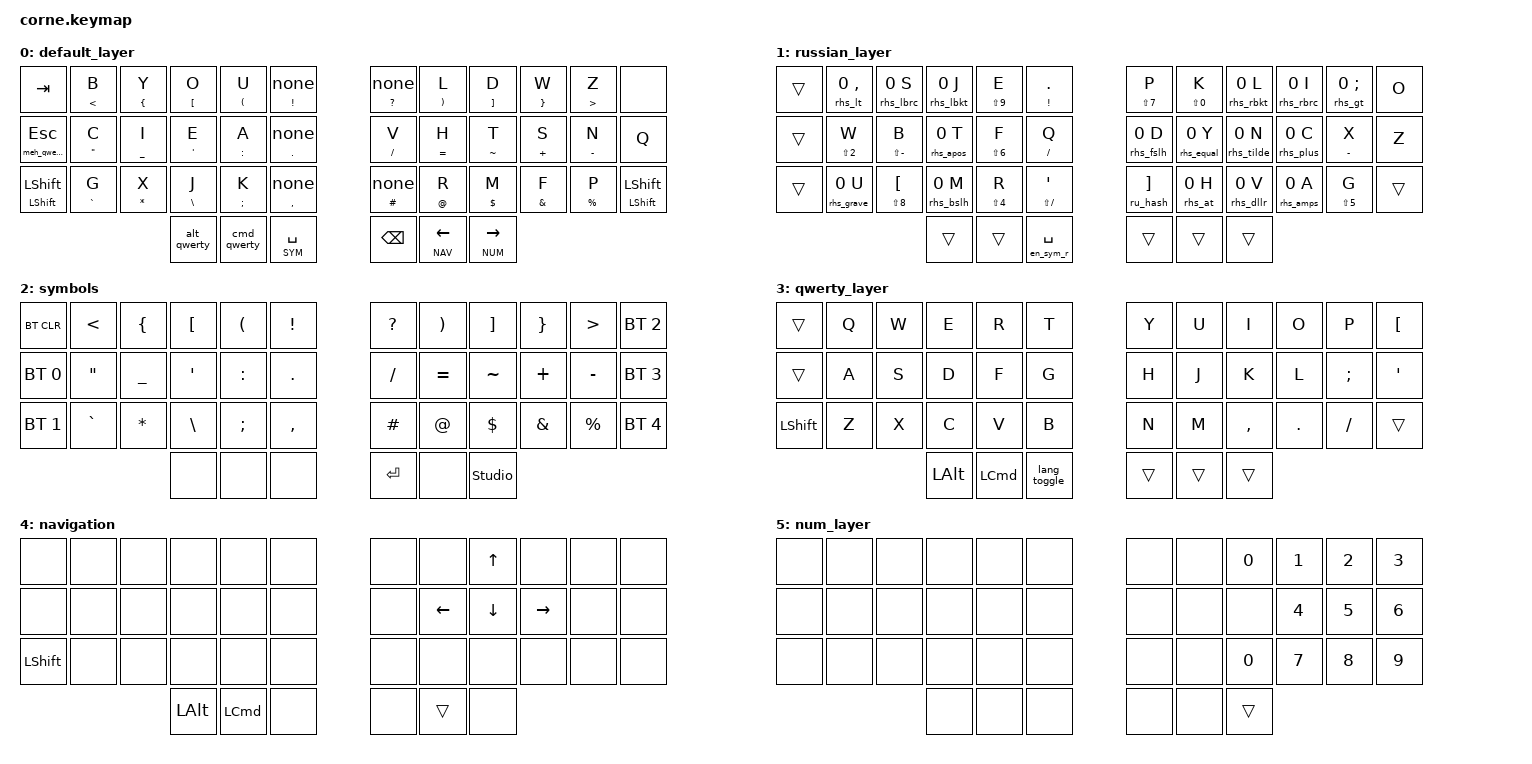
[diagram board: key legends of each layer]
/*

▀████▄     ▄███▀            ▀███▄   ▀███▀                                  ▄▄█▀▀▀█▄█                                       ▀████▀ ▀███▀
  ████    ████                ███▄    █                                  ▄██▀     ▀█                                         ██   ▄█▀
  █ ██   ▄█ ██ ▀███▄███       █ ███   █   ▄██▀██▄  ▄██▀██▄▀████████▄     ██▀       ▀ ▄██▀██▄▀███▄███▀████████▄   ▄▄█▀██      ██ ▄█▀      ▄▄█▀██▀██▀   ▀██▀████████▄█████▄  ▄█▀██▄ ▀████████▄
  █  ██  █▀ ██   ██▀ ▀▀       █  ▀██▄ █  ██▀   ▀████▀   ▀██ ██    ██     ██         ██▀   ▀██ ██▀ ▀▀  ██    ██  ▄█▀   ██     █████▄     ▄█▀   ██ ██   ▄█   ██    ██    ██ ██   ██   ██   ▀██
  █  ██▄█▀  ██   ██           █   ▀██▄█  ██     ████     ██ ██    ██     ██▄        ██     ██ ██      ██    ██  ██▀▀▀▀▀▀     ██  ███    ██▀▀▀▀▀▀  ██ ▄█    ██    ██    ██  ▄█████   ██    ██
  █  ▀██▀   ██   ██    ▄▄     █     ███  ██▄   ▄████▄   ▄██ ██    ██     ▀██▄     ▄▀██▄   ▄██ ██      ██    ██  ██▄    ▄     ██   ▀██▄  ██▄    ▄   ███     ██    ██    ██ ██   ██   ██   ▄██
▄███▄ ▀▀  ▄████▄████▄  ██   ▄███▄    ██   ▀█████▀  ▀█████▀▄████  ████▄     ▀▀█████▀  ▀█████▀▄████▄  ▄████  ████▄ ▀█████▀   ▄████▄   ███▄ ▀█████▀   ▄█    ▄████  ████  ████▄████▀██▄ ██████▀
                                                                                                                                                 ▄█                                 ██
                                                                                                                                               ██▀                                ▄████▄

////////////////////////////////////////////////////////////////////////////////////////////////////////////////////////////////////////////////////////////////////////////////////////////



████████╗ ██████╗ ██████╗  ██████╗ ███████╗
╚══██╔══╝██╔═══██╗██╔══██╗██╔═══██╗██╔════╝
   ██║   ██║   ██║██║  ██║██║   ██║███████╗
   ██║   ██║   ██║██║  ██║██║   ██║╚════██║
   ██║   ╚██████╔╝██████╔╝╚██████╔╝███████║
   ╚═╝    ╚═════╝ ╚═════╝  ╚═════╝ ╚══════╝

[ ] Transfer window management to QMK

[ ] Transfer nav layer addenda to the QMK

[x] Need a button (capslock or the like) to change window position
    and generally redesign the window positioning system.

[ ] Need a proper readme

[ ] Need a more general description of keyboard functioning on the
    mac, including things like Vimari, window management and such




██╗███╗   ██╗ ██████╗██╗     ██╗   ██╗██████╗ ███████╗███████╗
██║████╗  ██║██╔════╝██║     ██║   ██║██╔══██╗██╔════╝██╔════╝
██║██╔██╗ ██║██║     ██║     ██║   ██║██║  ██║█████╗  ███████╗
██║██║╚██╗██║██║     ██║     ██║   ██║██║  ██║██╔══╝  ╚════██║
██║██║ ╚████║╚██████╗███████╗╚██████╔╝██████╔╝███████╗███████║
╚═╝╚═╝  ╚═══╝ ╚═════╝╚══════╝ ╚═════╝ ╚═════╝ ╚══════╝╚══════╝

*/

#include <behaviors.dtsi>
#include <dt-bindings/zmk/keys.h>
#include <dt-bindings/zmk/bt.h>
#include <dt-bindings/zmk/ext_power.h>



/*
██╗      █████╗ ██╗   ██╗███████╗██████╗ ███████╗
██║     ██╔══██╗╚██╗ ██╔╝██╔════╝██╔══██╗██╔════╝
██║     ███████║ ╚████╔╝ █████╗  ██████╔╝███████╗
██║     ██╔══██║  ╚██╔╝  ██╔══╝  ██╔══██╗╚════██║
███████╗██║  ██║   ██║   ███████╗██║  ██║███████║
╚══════╝╚═╝  ╚═╝   ╚═╝   ╚══════╝╚═╝  ╚═╝╚══════╝
*/

#define EN  0
#define RU  1
#define SYM 2
#define QWE 3
#define NAV 4
#define NUM 5

/*
███████╗███████╗████████╗████████╗██╗███╗   ██╗ ██████╗ ███████╗
██╔════╝██╔════╝╚══██╔══╝╚══██╔══╝██║████╗  ██║██╔════╝ ██╔════╝
███████╗█████╗     ██║      ██║   ██║██╔██╗ ██║██║  ███╗███████╗
╚════██║██╔══╝     ██║      ██║   ██║██║╚██╗██║██║   ██║╚════██║
███████║███████╗   ██║      ██║   ██║██║ ╚████║╚██████╔╝███████║
╚══════╝╚══════╝   ╚═╝      ╚═╝   ╚═╝╚═╝  ╚═══╝ ╚═════╝ ╚══════╝
*/

//
// Configuring behavior of sticky shift
// to avoid double capitalised letters when rolling
//
&sk {
    quick-release;
};

/*
███╗   ███╗ █████╗  ██████╗██████╗  ██████╗ ███████╗
████╗ ████║██╔══██╗██╔════╝██╔══██╗██╔═══██╗██╔════╝
██╔████╔██║███████║██║     ██████╔╝██║   ██║███████╗
██║╚██╔╝██║██╔══██║██║     ██╔══██╗██║   ██║╚════██║
██║ ╚═╝ ██║██║  ██║╚██████╗██║  ██║╚██████╔╝███████║
╚═╝     ╚═╝╚═╝  ╚═╝ ╚═════╝╚═╝  ╚═╝ ╚═════╝ ╚══════╝
*/

/ {
    combos {

        //
        // Three buttons in the home position
        // on the left produce a combo that
        // presses command-shift-space, which
        // produces hint mode on macos via
        // an app called HomeRow
        //
        compatible = "zmk,combos";
        combo_6 {
            timeout-ms = <100>;
            key-positions = <14 15 16>;
            bindings = <&kp LG(LS(SPACE))>;
        };

        //
        // Three buttons in the home
        // position on the right produces
        // command-shift-J which turns on
        // scroll mode in HomeRow
        //
        compatible = "zmk,combos";
        combo_7 {
            timeout-ms = <100>;
            key-positions = <19 20 21>;
            bindings = <&kp LG(LS(J))>;
        };

        // (EN<->RU switch is NOT a combo — combos wouldn't fire on the thumb
        // keys. Instead, holding Super activates the QWERTY layer, whose Enter
        // key is bound to &lang_toggle. So "hold Super, tap Enter" switches.)

    };
};


/ {

        macros {

        //
        // Switch to the QWERTY layer with
        // Left Command / Left Option being held.
        // I'm typing in an alt layout, but
        // want my hotkeys to still be as if
        // I'm pressing them in QWERTY.
        //
        ZMK_MACRO(cmd_qwerty,
            wait-ms = <0>;
            bindings
                = <&macro_press &mo QWE &kp LCMD>
                , <&macro_pause_for_release>
                , <&macro_release &mo QWE &kp LCMD>
                ;
        )

        ZMK_MACRO(alt_qwerty,
            wait-ms = <0>;
            bindings
                = <&macro_press &mo QWE &kp LALT>
                , <&macro_pause_for_release>
                , <&macro_release &mo QWE &kp LALT>
                ;
        )

        //
        // Held by the red key: hold Ctrl+Alt+Cmd (Meh) AND switch to the
        // QWERTY layer, so Meh shortcuts use QWERTY letters no matter which
        // alpha layout / language is active.
        //
        ZMK_MACRO(meh_qwerty,
            wait-ms = <0>;
            bindings
                = <&macro_press &mo QWE &kp LC(LA(LGUI))>
                , <&macro_pause_for_release>
                , <&macro_release &mo QWE &kp LC(LA(LGUI))>
                ;
        )
        //
        // Switch to layers while
        // switching languages for
        // the duration of the layer. Lets me
        // get symbols from the Latin layer
        // while being in the Russian layout.
        //
        ZMK_MACRO(en_sym_r,
            wait-ms = <0>;
            tap-ms = <0>;
            bindings
                = <&macro_press &mo SYM>
                , <&macro_tap &kp LG(LA(N1))>
                , <&macro_pause_for_release>
                , <&macro_tap &kp LG(LA(N2))>
                , <&macro_release &mo SYM>
                ;
        )

        //
        // Convenience macros:
        // switching tabs left and right
        //
        ZMK_MACRO(tab_l,
            wait-ms = <0>;
            tap-ms = <0>;
            bindings
                = <&macro_tap &kp LG(LS(LBKT))>
                ;
        )
        ZMK_MACRO(tab_r,
            wait-ms = <0>;
            tap-ms = <0>;
            bindings
                = <&macro_tap &kp LG(LS(RBKT))>
                ;
        )

        //
        // '#' is not on the Russian (ЙЦУКЕН) layout, so on the RU layer this
        // key briefly switches the OS to English (Cmd+Alt+1), types #, and
        // switches back to Russian (Cmd+Alt+2). wait-ms gives the OS time to
        // actually change input source between steps (tune if # or the switch
        // is unreliable).
        //
        ZMK_MACRO(ru_hash,
            wait-ms = <30>;
            tap-ms = <0>;
            bindings
                = <&macro_tap &kp LG(LA(N1))>
                , <&macro_tap &kp HASH>
                , <&macro_tap &kp LG(LA(N2))>
                ;
        )

        //
        // ru_sym_* macros: flip the OS input source to English (Cmd+Alt+1),
        // tap the symbol, flip back to Russian (Cmd+Alt+2) — the ru_hash
        // trick, generalized to every symbol ЙЦУКЕН doesn't have. Each pairs
        // with an rhs_* hold-tap behavior (see behaviors section): on the RU
        // layer, holding the key types that symbol. Symbols that DO exist in
        // ЙЦУКЕН (! " ; % : ? * ( ) - _ . ,) are sent directly via &rht.
        //
#define RU_SYM_MACRO(name, SYMKEY) \
        ZMK_MACRO(ru_sym_##name, \
            wait-ms = <30>; \
            tap-ms = <0>; \
            bindings \
                = <&macro_tap &kp LG(LA(N1))> \
                , <&macro_tap &kp SYMKEY> \
                , <&macro_tap &kp LG(LA(N2))> \
                ; \
        )

        RU_SYM_MACRO(lt,    LT)
        RU_SYM_MACRO(lbrc,  LBRC)
        RU_SYM_MACRO(lbkt,  LBKT)
        RU_SYM_MACRO(rbkt,  RBKT)
        RU_SYM_MACRO(rbrc,  RBRC)
        RU_SYM_MACRO(gt,    GT)
        RU_SYM_MACRO(apos,  APOS)
        RU_SYM_MACRO(fslh,  FSLH)
        RU_SYM_MACRO(equal, EQUAL)
        RU_SYM_MACRO(tilde, TILDE)
        RU_SYM_MACRO(plus,  PLUS)
        RU_SYM_MACRO(grave, GRAVE)
        RU_SYM_MACRO(bslh,  BSLH)
        RU_SYM_MACRO(at,    AT)
        RU_SYM_MACRO(dllr,  DLLR)
        RU_SYM_MACRO(amps,  AMPS)

        //
        // EN<->RU switch, bound to Enter on the QWERTY layer (which you reach
        // by holding Super). Cmd+Space toggles the macOS input source; &tog RU
        // toggles the keyboard's Russian layer — both directions, one key.
        //
        ZMK_MACRO(lang_toggle,
            wait-ms = <0>;
            tap-ms = <0>;
            bindings
                = <&kp LG(SPACE)>
                , <&tog RU>
                ;
        )
    };






/*
██████╗ ███████╗██╗  ██╗ █████╗ ██╗   ██╗██╗ ██████╗ ██╗   ██╗██████╗ ███████╗
██╔══██╗██╔════╝██║  ██║██╔══██╗██║   ██║██║██╔═══██╗██║   ██║██╔══██╗██╔════╝
██████╔╝█████╗  ███████║███████║██║   ██║██║██║   ██║██║   ██║██████╔╝███████╗
██╔══██╗██╔══╝  ██╔══██║██╔══██║╚██╗ ██╔╝██║██║   ██║██║   ██║██╔══██╗╚════██║
██████╔╝███████╗██║  ██║██║  ██║ ╚████╔╝ ██║╚██████╔╝╚██████╔╝██║  ██║███████║
╚═════╝ ╚══════╝╚═╝  ╚═╝╚═╝  ╚═╝  ╚═══╝  ╚═╝ ╚═════╝  ╚═════╝ ╚═╝  ╚═╝╚══════╝
*/
        behaviors {
        //
        // Custom Layer-Tap: switches to layer when held,
        // presses a button when pressed. ZMK has this
        // by default (called &lt), but I duplicate it
        // because I want to play with tapping terms and such.
        //
        lt_cust: lt_cust {
            compatible = "zmk,behavior-hold-tap";
            label="LT_CUSTOM";
            #binding-cells = <2>;
            flavor = "hold-preferred";
            tapping-term-ms = <250>;
            quick-tap-ms = <125>;
            bindings = <&mo>, <&kp>;
        };

        //
        // Same as lt_cust, but calls macros when held.
        // I use this to switch between languages. I wrote
        // language-switching macros that (a) switch my active
        // layer; (b) switch the OS language.
        //
        hold_sym_r: hold_sym_r {
            compatible = "zmk,behavior-hold-tap";
            label="hold_sym_r";
            #binding-cells = <2>;
            flavor = "hold-preferred";
            tapping-term-ms = <250>;
            quick-tap-ms = <125>;
            bindings = <&en_sym_r>, <&kp>;
        };

	//
	// Shift: normal (held) Shift, and a sticky Shift when tapped.
	// Both shift keys use it as: &ss LSHFT LSHFT.
	//
        ss: ss {
            compatible = "zmk,behavior-hold-tap";
            label = "SS";
            #binding-cells = <2>;
            flavor = "hold-preferred";
            tapping-term-ms = <200>;
            quick-tap-ms = <125>;
            bindings = <&kp>, <&sk>;
        };


        //
        // Generic hold-tap (tap-preferred), used as `&rht <hold> <tap>`.
        // Backs the hold-for-symbol keys: hold = the SYM-layer symbol in the
        // same physical position, tap = the letter. On EN that's every letter
        // key; on RU only the letters whose symbol exists in ЙЦУКЕН (the rest
        // use the rhs_* behaviors below, which flip the OS to EN and back).
        //
        rht: rht {
            compatible = "zmk,behavior-hold-tap";
            label = "RHT";
            #binding-cells = <2>;
            flavor = "tap-preferred";
            tapping-term-ms = <200>;
            quick-tap-ms = <150>;
            bindings = <&kp>, <&kp>;
        };

        //
        // Hold-only symbol key: tap does NOTHING, hold types the symbol.
        // Used on the EN layer's old punctuation slots, which are now
        // tap-empty (symbols come from holding these keys, or from SYM).
        // Hold-tap always takes 2 cells: `&hso <symbol> 0` (0 is a dummy for
        // &none, which has zero binding-cells).
        //
        hso: hso {
            compatible = "zmk,behavior-hold-tap";
            label = "HSO";
            #binding-cells = <2>;
            flavor = "hold-preferred";
            tapping-term-ms = <200>;
            quick-tap-ms = <150>;
            bindings = <&kp>, <&none>;
        };

        //
        // Same shape as rht (tap = key, hold = special), but the hold side
        // runs the ru_hash macro because ЙЦУКЕН has no '#'. Used on the RU
        // layer as `&rh_hash 0 <letter>`: tap = letter, hold = #.
        //
        rh_hash: rh_hash {
            compatible = "zmk,behavior-hold-tap";
            label = "RH_HASH";
            #binding-cells = <2>;
            flavor = "tap-preferred";
            tapping-term-ms = <200>;
            quick-tap-ms = <150>;
            bindings = <&ru_hash>, <&kp>;
        };

        //
        // RU hold-for-symbol with OS flip: tap = Cyrillic letter, hold runs
        // the matching ru_sym_* macro (flip OS to EN, tap symbol, flip back)
        // for symbols ЙЦУКЕН doesn't have. RU_SYM_BEHAVIOR generates one
        // behavior per macro; used as `&rhs_<name> 0 <letter>`.
        //
#define RU_SYM_BEHAVIOR(name) \
        rhs_##name: rhs_##name { \
            compatible = "zmk,behavior-hold-tap"; \
            label = "RHS"; \
            #binding-cells = <2>; \
            flavor = "tap-preferred"; \
            tapping-term-ms = <200>; \
            quick-tap-ms = <150>; \
            bindings = <&ru_sym_##name>, <&kp>; \
        };

        RU_SYM_BEHAVIOR(lt)
        RU_SYM_BEHAVIOR(lbrc)
        RU_SYM_BEHAVIOR(lbkt)
        RU_SYM_BEHAVIOR(rbkt)
        RU_SYM_BEHAVIOR(rbrc)
        RU_SYM_BEHAVIOR(gt)
        RU_SYM_BEHAVIOR(apos)
        RU_SYM_BEHAVIOR(fslh)
        RU_SYM_BEHAVIOR(equal)
        RU_SYM_BEHAVIOR(tilde)
        RU_SYM_BEHAVIOR(plus)
        RU_SYM_BEHAVIOR(grave)
        RU_SYM_BEHAVIOR(bslh)
        RU_SYM_BEHAVIOR(at)
        RU_SYM_BEHAVIOR(dllr)
        RU_SYM_BEHAVIOR(amps)

        //
        // The red key: tap = Escape, hold = meh_qwerty (Ctrl+Alt+Cmd + QWERTY
        // layer, so Meh shortcuts use QWERTY letters). Used as `&red 0 ESC`.
        // hold-preferred so the hold engages as soon as another key is pressed.
        //
        red: red {
            compatible = "zmk,behavior-hold-tap";
            label = "RED";
            #binding-cells = <2>;
            flavor = "hold-preferred";
            tapping-term-ms = <200>;
            quick-tap-ms = <125>;
            bindings = <&meh_qwerty>, <&kp>;
        };

    };



/*
██╗      █████╗ ██╗   ██╗███████╗██████╗ ███████╗
██║     ██╔══██╗╚██╗ ██╔╝██╔════╝██╔══██╗██╔════╝
██║     ███████║ ╚████╔╝ █████╗  ██████╔╝███████╗
██║     ██╔══██║  ╚██╔╝  ██╔══╝  ██╔══██╗╚════██║
███████╗██║  ██║   ██║   ███████╗██║  ██║███████║
╚══════╝╚═╝  ╚═╝   ╚═╝   ╚══════╝╚═╝  ╚═╝╚══════╝
*/

        keymap {
                compatible = "zmk,keymap";
                default_layer {
/*
Top glyph on a key = HOLD for that symbol (the one in the same position on
the SYM layer); a plain tap types the letter. The old punctuation keys
(! ? . , #) are tap-empty and fire only on hold. Symbols can also be typed
by holding Space (SYM) and tapping the key, as before.

┌───────┬───────┬───────┬───────┬───────┬───────┐                        ┌───────┬───────┬───────┬───────┬───────┬───────┐
│       │   <   │   {   │   [   │   (   │   !   │░                       │   ?   │   )   │   ]   │   }   │   >   │       │░
│  tab  │   B   │   Y   │   O   │   U   │  ---  │░                       │  ---  │   L   │   D   │   W   │   Z   │       │░
│       │       │       │       │       │       │░                       │       │       │       │       │       │       │░
├───────┼───────┼───────┼───────┼───────┼───────┤░                       ├───────┼───────┼───────┼───────┼───────┼───────┤░
│  meh  │   "   │   _   │   '   │   :   │   .   │░                       │   /   │   =   │   ~   │   +   │   -   │       │░
│  ---  │   C   │   I   │   E   │   A   │  ---  │░                       │   V   │   H   │   T   │   S   │   N   │   Q   │░
│  esc  │       │       │       │       │       │░                       │       │       │       │       │       │       │░
├───────┼───────┼───────┼───────┼───────┼───────┤░                       ├───────┼───────┼───────┼───────┼───────┼───────┤░
│       │   `   │   *   │   \   │   ;   │   ,   │░                       │   #   │   @   │   $   │   &   │   %   │       │░
│ shift │   G   │   X   │   J   │   K   │  ---  │░                       │  ---  │   R   │   M   │   F   │   P   │ shift │░
│       │       │       │       │       │       │░                       │       │       │       │       │       │       │░
└───────┴───────┴───────┴───────┴───────┴───────┘░                       └───────┴───────┴───────┴───────┴───────┴───────┘░
 ░░░░░░░░░░░░░░░░░░░░░░░░░░░░░░░░░░░░░░░░░░░░░░░░┌───────┐      ┌───────┐ ░░░░░░░░░░░░░░░░░░░░░░░░░░░░░░░░░░░░░░░░░░░░░░░░░
                                ┌───────┬───────┐│       │░     │       │░┌───────┬───────┐
                                │       │       ││  SYM  │░     │       │░│       │       │░
                                │   ⌥   │   ⌘   ││  ---  │░     │ bkspc │░│ ←NAV  │  NUM→ │░
                                │       │       ││ space │░     │       │░│       │       │░
                                └───────┴───────┘│       │░     │       │░└───────┴───────┘░
                                 ░░░░░░░░░░░░░░░░│       │░     │       │░ ░░░░░░░░░░░░░░░░░
                                                 └───────┘░     └───────┘░
                                                  ░░░░░░░░░      ░░░░░░░░░
*/


                        bindings = <

   &kp TAB              &rht LT B     &rht LBRC Y  &rht LBKT O  &rht LPAR U  &hso EXCL 0                            &hso QMARK 0  &rht RPAR L  &rht RBKT D  &rht RBRC W    &rht GT Z    &none
   &red 0 ESC           &rht DQT C    &rht UNDER I &rht APOS E  &rht COLON A &hso DOT 0                             &rht FSLH V &rht EQUAL H &rht TILDE T &rht PLUS S    &rht MINUS N &kp Q
   &ss LSHFT LSHFT      &rht GRAVE G  &rht STAR X  &rht BSLH J  &rht SEMI K  &hso COMMA 0                           &hso HASH 0   &rht AT R    &rht DLLR M  &rht AMPS F    &rht PRCNT P &ss LSHFT LSHFT

                  &alt_qwerty  &cmd_qwerty  &lt_cust SYM SPACE             &kp BSPC  &lt_cust NAV LEFT  &lt_cust NUM RIGHT
                        >;
                };






                    russian_layer {
/*
Cyrillic letters sit where the matching LATIN logical key is on the EN layer
(e.g. п is where Latin p is). Keycodes sent are the QWERTY positions the macOS
Russian (ЙЦУКЕН) layout maps to each letter. Ё is not on this layout.

Every printable symbol from the SYM layer can be typed here by HOLDING the key
in the same physical position (top glyph = hold, letter = tap), or by holding
Space (SYM) and tapping the key, as before. Symbols that exist in ЙЦУКЕН are
sent directly: ! = Shift+1, " = Shift+2, ; = Shift+4, % = Shift+5, : = Shift+6,
? = Shift+7, * = Shift+8, ( = Shift+9, ) = Shift+0, - and _ on the minus key,
. = "/" key, , = Shift+"/". The rest (< { [ ] } > ' / = ~ + ` \ @ $ & #)
briefly flip the OS to English and back via ru_sym_* / ru_hash macros
(tune their wait-ms if a language switch is ever dropped).

┌───────┬───────┬───────┬───────┬───────┬───────┐                        ┌───────┬───────┬───────┬───────┬───────┬───────┐
│       │   <   │   {   │   [   │   (   │   !   │░                       │   ?   │   )   │   ]   │   }   │   >   │       │░
│  +++  │   Б   │   Ы   │   О   │   У   │   Ю   │░                       │   З   │   Л   │   Д   │   Ш   │   Ж   │   Щ   │░
│       │       │       │       │       │       │░                       │       │       │       │       │       │       │░
├───────┼───────┼───────┼───────┼───────┼───────┤░                       ├───────┼───────┼───────┼───────┼───────┼───────┤░
│  meh  │   "   │   _   │   '   │   :   │   .   │░                       │   /   │   =   │   ~   │   +   │   -   │       │░
│  ---  │   Ц   │   И   │   Е   │   А   │   Й   │░                       │   В   │   Н   │   Т   │   С   │   Ч   │   Я   │░
│  esc  │       │       │       │       │       │░                       │       │       │       │       │       │       │░
├───────┼───────┼───────┼───────┼───────┼───────┤░                       ├───────┼───────┼───────┼───────┼───────┼───────┤░
│       │   `   │   *   │   \   │   ;   │   ,   │░                       │   #   │   @   │   $   │   &   │   %   │       │░
│  +++  │   Г   │   Х   │   Ь   │   К   │   Э   │░                       │   Ъ   │   Р   │   М   │   Ф   │   П   │  +++  │░
│       │       │       │       │       │       │░                       │       │       │       │       │       │       │░
└───────┴───────┴───────┴───────┴───────┴───────┘░                       └───────┴───────┴───────┴───────┴───────┴───────┘░
 ░░░░░░░░░░░░░░░░░░░░░░░░░░░░░░░░░░░░░░░░░░░░░░░░┌───────┐      ┌───────┐ ░░░░░░░░░░░░░░░░░░░░░░░░░░░░░░░░░░░░░░░░░░░░░░░░░
                                ┌───────┬───────┐│       │░     │       │░┌───────┬───────┐
                                │       │       ││  SYM  │░     │       │░│       │       │░
                                │  +++  │  +++  ││  ---  │░     │ bkspc │░│  +++  │  +++  │░
                                │       │       ││ space │░     │       │░│       │       │░
                                └───────┴───────┘│       │░     │       │░└───────┴───────┘░
                                 ░░░░░░░░░░░░░░░░│       │░     │       │░ ░░░░░░░░░░░░░░░░░
                                                 └───────┘░     └───────┘
                                                  ░░░░░░░░░      ░░░░░░░░░
*/
                        bindings = <

   &trans          &rhs_lt 0 COMMA  &rhs_lbrc 0 S    &rhs_lbkt 0 J  &rht LS(N9) E     &rht EXCL DOT          &rht LS(N7) P    &rht LS(N0) K   &rhs_rbkt 0 L   &rhs_rbrc 0 I  &rhs_gt 0 SEMI  &kp O
   &trans          &rht LS(N2) W    &rht LS(MINUS) B &rhs_apos 0 T   &rht LS(N6) F     &rht FSLH Q            &rhs_fslh 0 D    &rhs_equal 0 Y  &rhs_tilde 0 N  &rhs_plus 0 C  &rht MINUS X    &kp Z
   &trans          &rhs_grave 0 U   &rht LS(N8) LBKT &rhs_bslh 0 M   &rht LS(N4) R     &rht LS(FSLH) APOS     &rh_hash 0 RBKT  &rhs_at 0 H     &rhs_dllr 0 V   &rhs_amps 0 A  &rht LS(N5) G   &trans

                            &trans  &trans  &hold_sym_r 0 SPACE                  &trans  &trans  &trans
                        >;
                };






                                symbols {
/*
┌───────┬───────┬───────┬───────┬───────┬───────┐                        ┌───────┬───────┬───────┬───────┬───────┬───────┐
│       │       │       │       │       │       │░                       │       │       │       │       │       │       │░
│ BTclr │   <   │   {   │   [   │   (   │   !   │░                       │   ?   │   )   │   ]   │   }   │   >   │  BT2  │░
│       │       │       │       │       │       │░                       │       │       │       │       │       │       │░
├───────┼───────┼───────┼───────┼───────┼───────┤░                       ├───────┼───────┼───────┼───────┼───────┼───────┤░
│       │       │       │       │       │       │░                       │       │       │       │       │       │       │░
│  BT0  │   "   │   _   │   '   │   :   │   .   │░                       │   /   │   =   │   ~   │   +   │   -   │  BT3  │░
│       │       │       │       │       │       │░                       │       │       │       │       │       │       │░
├───────┼───────┼───────┼───────┼───────┼───────┤░                       ├───────┼───────┼───────┼───────┼───────┼───────┤░
│       │       │       │       │       │       │░                       │       │       │       │       │       │       │░
│  BT1  │   `   │   *   │   \   │   ;   │   ,   │░                       │   #   │   @   │   $   │   &   │   %   │  BT4  │░
│       │       │       │       │       │       │░                       │       │       │       │       │       │       │░
└───────┴───────┴───────┴───────┴───────┴───────┘░                       └───────┴───────┴───────┴───────┴───────┴───────┘░
 ░░░░░░░░░░░░░░░░░░░░░░░░░░░░░░░░░░░░░░░░░░░░░░░░┌───────┐      ┌───────┐ ░░░░░░░░░░░░░░░░░░░░░░░░░░░░░░░░░░░░░░░░░░░░░░░░░
                                ┌───────┬───────┐│░░░░░░░│      │       │░┌───────┬───────┐
                                │       │       ││░░░░░░░│      │       │░│       │       │░
                                │       │       ││░░░░░░░│      │  RET  │░│       │       │░
                                │       │       ││░░░░░░░│      │       │░│       │       │░
                                └───────┴───────┘│░░░░░░░│      │       │░└───────┴───────┘░
                                 ░░░░░░░░░░░░░░░░│░░░░░░░│      │       │░ ░░░░░░░░░░░░░░░░░
                                                 └───────┘      └───────┘░
                                                                 ░░░░░░░░░

Brackets: all four pairs on the TOP row, on mirror-image keys (openers left,
closers right):  < { [ (  |  ) ] } >.
Home row = everyday punctuation:  " _ ' :  (left)  and  / = ~ + -  (right).
Row 3 = the rest:  ` * \ ;  (left)  and  @ $ & %  (right).
Mnemonics: ~ on K (logical t = tilde), ` on Z (g = grave), * on X (x = times),
% on / (p = percent);  ':' sits left of '.',  ';' sits left of ','.
Inner columns (! . , ? #) are the always-on punctuation shared with base layers.
Every printable symbol here can also be typed from EN/RU by HOLDING the key in
the same physical position (tap = letter, hold = symbol).
*/

                        bindings = <
   &bt BT_CLR    &kp LT     &kp LBRC   &kp LBKT  &kp LPAR   &kp EXCL             &kp QMARK  &kp RPAR   &kp RBKT   &kp RBRC   &kp GT     &bt BT_SEL 2
   &bt BT_SEL 0  &kp DQT    &kp UNDER  &kp APOS  &kp COLON  &kp DOT              &kp FSLH   &kp EQUAL  &kp TILDE  &kp PLUS   &kp MINUS  &bt BT_SEL 3
   &bt BT_SEL 1  &kp GRAVE  &kp STAR   &kp BSLH  &kp SEMI   &kp COMMA            &kp HASH   &kp AT     &kp DLLR   &kp AMPS   &kp PRCNT  &bt BT_SEL 4

                                     &none &none &none                        &kp RET &none &studio_unlock
                        >;
                };






/*
┌───────┬───────┬───────┬───────┬───────┬───────┐                        ┌───────┬───────┬───────┬───────┬───────┬───────┐
│       │       │       │       │       │       │░                       │       │       │       │       │       │       │░
│  +++  │   Q   │   W   │   E   │   R   │   T   │░                       │   Y   │   U   │   I   │   O   │   P   │   [   │░
│       │       │       │       │       │       │░                       │       │       │       │       │       │       │░
├───────┼───────┼───────┼───────┼───────┼───────┤░                       ├───────┼───────┼───────┼───────┼───────┼───────┤░
│       │       │       │       │       │       │░                       │       │       │       │       │       │       │░
│  +++  │   A   │   S   │   D   │   F   │   G   │░                       │   H   │   J   │   K   │   L   │   ;   │   '   │░
│       │       │       │       │       │       │░                       │       │       │       │       │       │       │░
├───────┼───────┼───────┼───────┼───────┼───────┤░                       ├───────┼───────┼───────┼───────┼───────┼───────┤░
│ norm. │       │       │       │       │       │░                       │       │       │       │       │       │       │░
│ shift │   Z   │   X   │   C   │   V   │   B   │░                       │   N   │   M   │   ,   │   .   │   /   │       │░
│       │       │       │       │       │       │░                       │       │       │       │       │       │       │░
└───────┴───────┴───────┴───────┴───────┴───────┘░                       └───────┴───────┴───────┴───────┴───────┴───────┘░
 ░░░░░░░░░░░░░░░░░░░░░░░░░░░░░░░░░░░░░░░░░░░░░░░░┌───────┐      ┌───────┐ ░░░░░░░░░░░░░░░░░░░░░░░░░░░░░░░░░░░░░░░░░░░░░░░░░
                                ┌───────┬───────┐│       │░     │       │░┌───────┬───────┐
                                │░░░░░░░│░░░░░░░││       │░     │       │░│       │       │░
                                │░  ⌥  ░│░  ⌘  ░││  +++  │░     │  +++  │░│  +++  │  +++  │░
                                │░░░░░░░│░░░░░░░││       │░     │       │░│       │       │░
                                └───────┴───────┘│       │░     │       │░└───────┴───────┘░
                                 ░░░░░░░░░░░░░░░░│       │░     │       │░ ░░░░░░░░░░░░░░░░░
                                                 └───────┘░     └───────┘░
                                                  ░░░░░░░░░      ░░░░░░░░░
*/
                            qwerty_layer {

                        bindings = <
   &trans     &kp Q  &kp W  &kp E  &kp R  &kp T                                   &kp Y  &kp U  &kp I      &kp O    &kp P     &kp LBKT
   &trans     &kp A  &kp S  &kp D  &kp F  &kp G                                   &kp H  &kp J  &kp K      &kp L    &kp SEMI  &kp APOS
   &kp LSHFT  &kp Z  &kp X  &kp C  &kp V  &kp B                                   &kp N  &kp M  &kp COMMA  &kp DOT  &kp FSLH  &trans

                     &kp LALT  &kp LCMD  &lang_toggle                            &trans  &trans   &trans
                        >;
                };






                navigation {
/*
┌───────┬───────┬───────┬───────┬───────┬───────┐                        ┌───────┬───────┬───────┬───────┬───────┬───────┐
│       │       │       │       │       │       │░                       │       │       │       │       │       │       │░
│       │       │       │       │       │       │░                       │       │       │   ↑   │       │       │       │░
│       │       │       │       │       │       │░                       │       │       │       │       │       │       │░
├───────┼───────┼───────┼───────┼───────┼───────┤░                       ├───────┼───────┼───────┼───────┼───────┼───────┤░
│       │       │       │       │       │       │░                       │       │       │       │       │       │       │░
│       │       │       │       │       │       │░                       │       │   ←   │   ↓   │   →   │       │       │░
│       │       │       │       │       │       │░                       │       │       │       │       │       │       │░
├───────┼───────┼───────┼───────┼───────┼───────┤░                       ├───────┼───────┼───────┼───────┼───────┼───────┤░
│       │       │       │       │       │       │░                       │       │       │       │       │       │       │░
│ shift │       │       │       │       │       │░                       │       │       │       │       │       │       │░
│       │       │       │       │       │       │░                       │       │       │       │       │       │       │░
└───────┴───────┴───────┴───────┴───────┴───────┘░                       └───────┴───────┴───────┴───────┴───────┴───────┘░
 ░░░░░░░░░░░░░░░░░░░░░░░░░░░░░░░░░░░░░░░░░░░░░░░░┌───────┐      ┌───────┐ ░░░░░░░░░░░░░░░░░░░░░░░░░░░░░░░░░░░░░░░░░░░░░░░░░
                                ┌───────┬───────┐│       │░     │       │░┌───────┬───────┐
                                │       │       ││       │░     │       │░│░░░░░░░│       │░
                                │   ⌥   │   ⌘   ││       │░     │       │░│░ Pn  ░│       │░
                                │       │       ││       │░     │       │░│░░░░░░░│       │░
                                └───────┴───────┘│       │░     │       │░└───────┴───────┘░
                                 ░░░░░░░░░░░░░░░░│       │░     │       │░ ░░░░░░░░░░░░░░░░░
                                                 └───────┘░     └───────┘░
                                                  ░░░░░░░░░      ░░░░░░░░░
*/

                        bindings = <
   &none      &none  &none  &none  &none  &none                      &none  &none     &kp UP    &none      &none  &none
   &none      &none  &none  &none  &none  &none                      &none  &kp LEFT  &kp DOWN  &kp RIGHT  &none  &none
   &kp LSHFT  &none  &none  &none  &none  &none                      &none  &none     &none     &none      &none  &none

                              &kp LALT  &kp LCMD  &none                         &none  &trans  &none
                        >;
                };






                num_layer {
/*
┌───────┬───────┬───────┬───────┬───────┬───────┐                        ┌───────┬───────┬───────┬───────┬───────┬───────┐
│       │       │       │       │       │       │░                       │       │       │       │       │       │       │░
│       │       │       │       │       │       │░                       │       │       │   0   │   1   │   2   │   3   │░
│       │       │       │       │       │       │░                       │       │       │       │       │       │       │░
├───────┼───────┼───────┼───────┼───────┼───────┤░                       ├───────┼───────┼───────┼───────┼───────┼───────┤░
│       │       │       │       │       │       │░                       │       │       │       │       │       │       │░
│       │       │       │       │       │       │░                       │       │       │       │   4   │   5   │   6   │░
│       │       │       │       │       │       │░                       │       │       │       │       │       │       │░
├───────┼───────┼───────┼───────┼───────┼───────┤░                       ├───────┼───────┼───────┼───────┼───────┼───────┤░
│       │       │       │       │       │       │░                       │       │       │       │       │       │       │░
│       │       │       │       │       │       │░                       │       │       │   0   │   7   │   8   │   9   │░
│       │       │       │       │       │       │░                       │       │       │       │       │       │       │░
└───────┴───────┴───────┴───────┴───────┴───────┘░                       └───────┴───────┴───────┴───────┴───────┴───────┘░
 ░░░░░░░░░░░░░░░░░░░░░░░░░░░░░░░░░░░░░░░░░░░░░░░░┌───────┐      ┌───────┐ ░░░░░░░░░░░░░░░░░░░░░░░░░░░░░░░░░░░░░░░░░░░░░░░░░
                                ┌───────┬───────┐│       │░     │       │░┌───────┬───────┐
                                │       │       ││       │░     │       │░│       │░░░░░░░│░
                                │       │       ││       │░     │       │░│       │░ Fn  ░│░
                                │       │       ││       │░     │       │░│       │░░░░░░░│░
                                └───────┴───────┘│       │░     │       │░└───────┴───────┘░
                                 ░░░░░░░░░░░░░░░░│       │░     │       │░ ░░░░░░░░░░░░░░░░░
                                                 └───────┘░     └───────┘░
                                                  ░░░░░░░░░      ░░░░░░░░░
*/

                        bindings = <
   &none  &none  &none  &none  &none  &none                      &none  &none  &kp N0  &kp N1  &kp N2  &kp N3
   &none  &none  &none  &none  &none  &none                      &none  &none  &none   &kp N4  &kp N5  &kp N6
   &none  &none  &none  &none  &none  &none                      &none  &none  &kp N0   &kp N7  &kp N8  &kp N9

                                     &none &none &none                             &none &none  &trans
                        >;
                };
        };
};




/*

▄▄▄▄▄▄▄▄▄ .• ▌ ▄ ·.  ▄▄▄·▄▄▌   ▄▄▄· ▄▄▄▄▄▄▄▄ .
▀•██ ▀▀▄.▀··██ ▐███▪▐█ ▄███•  ▐█ ▀█ •██  ▀▄.▀·
  ▐█.▪▐▀▀▪▄▐█ ▌▐▌▐█· ██▀·██ ▪ ▄█▀▀█  ▐█.▪▐▀▀▪▄
  ▐█▌·▐█▄▄▌██ ██▌▐█▌▐█▪·•▐█▌ ▄▐█▪ ▐▌ ▐█▌·▐█▄▄▌
  ▀▀▀  ▀▀▀ ▀▀  █▪▀▀▀.▀   .▀▀▀  ▀  ▀  ▀▀▀  ▀▀▀



┌───────┬───────┬───────┬───────┬───────┬───────┐                        ┌───────┬───────┬───────┬───────┬───────┬───────┐
│       │       │       │       │       │       │░                       │       │       │       │       │       │       │░
│       │       │       │       │       │       │░                       │       │       │       │       │       │       │░
│       │       │       │       │       │       │░                       │       │       │       │       │       │       │░
├───────┼───────┼───────┼───────┼───────┼───────┤░                       ├───────┼───────┼───────┼───────┼───────┼───────┤░
│       │       │       │       │       │       │░                       │       │       │       │       │       │       │░
│       │       │       │       │       │       │░                       │       │       │       │       │       │       │░
│       │       │       │       │       │       │░                       │       │       │       │       │       │       │░
├───────┼───────┼───────┼───────┼───────┼───────┤░                       ├───────┼───────┼───────┼───────┼───────┼───────┤░
│       │       │       │       │       │       │░                       │       │       │       │       │       │       │░
│       │       │       │       │       │       │░                       │       │       │       │       │       │       │░
│       │       │       │       │       │       │░                       │       │       │       │       │       │       │░
└───────┴───────┴───────┴───────┴───────┴───────┘░                       └───────┴───────┴───────┴───────┴───────┴───────┘░
 ░░░░░░░░░░░░░░░░░░░░░░░░░░░░░░░░░░░░░░░░░░░░░░░░┌───────┐      ┌───────┐ ░░░░░░░░░░░░░░░░░░░░░░░░░░░░░░░░░░░░░░░░░░░░░░░░░
                                ┌───────┬───────┐│       │░     │       │░┌───────┬───────┐
                                │       │       ││       │░     │       │░│       │       │░
                                │       │       ││       │░     │       │░│       │       │░
                                │       │       ││       │░     │       │░│       │       │░
                                └───────┴───────┘│       │░     │       │░└───────┴───────┘░
                                 ░░░░░░░░░░░░░░░░│       │░     │       │░ ░░░░░░░░░░░░░░░░░
                                                 └───────┘░     └───────┘░
                                                  ░░░░░░░░░      ░░░░░░░░░

*/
